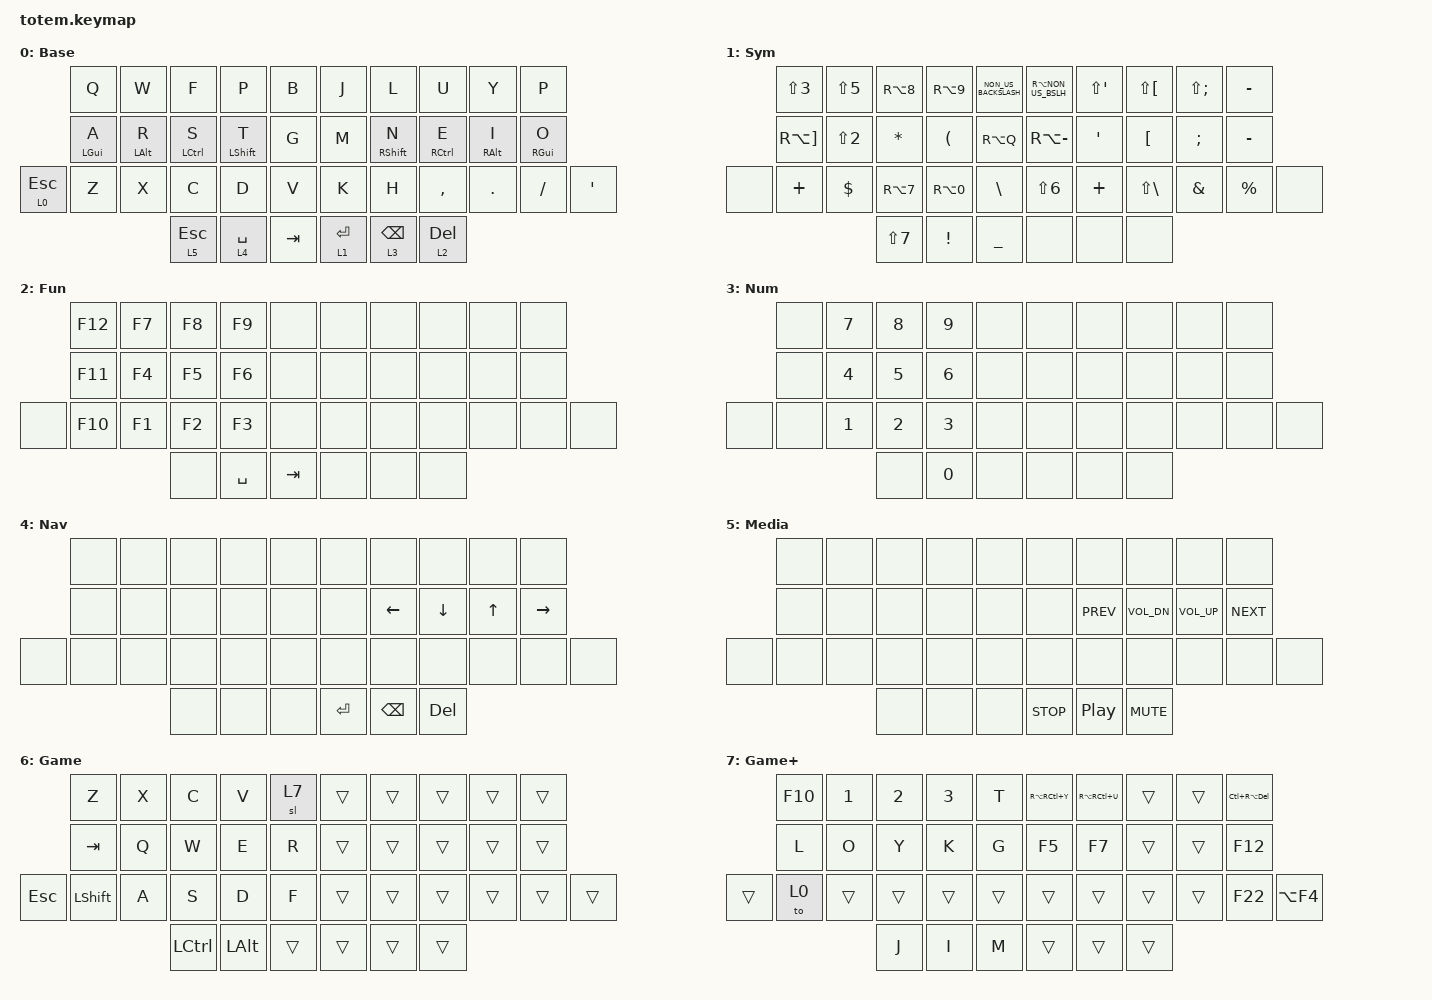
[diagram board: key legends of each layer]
//
//                                                        ▀▀▀▀▀     ▀▀▀▀▀          ▀▀█▀▀
//                                                        ▄▀▀▀▄  ▄  ▄▀▀▀▄  ▄  ▄▀▀▀▄  █  ▄▀▀▀▄
//                                                        █   █  █  █   █  █  █   █  █  █   █
//                                                         ▀▀▀   █   ▀▀▀   █   ▀▀▀   ▀   ▀▀▀
//                                                               █      ▄▄▄█▄▄▄    █   █  
//                                                               ▀      █  █  █     █▄█
//                                                             ▀▀▀▀▀    █  █  █      ▀
//                                                                      ▀  ▀  ▀
//
// ▄▄▄▄▄▄▄▄▄▄▄▄▄▄▄▄▄▄▄▄▄▄▄▄▄▄▄▄▄▄▄▄▄▄▄▄▄▄▄▄▄▄▄▄▄▄▄▄▄▄▄▄▄▄▄▄▄▄▄▄▄▄▄▄▄▄▄▄▄▄▄▄▄▄▄▄▄▄▄▄▄▄▄▄▄▄▄▄▄▄▄▄▄▄▄▄▄▄▄▄▄▄▄▄▄▄▄▄▄▄▄▄▄▄▄▄▄▄▄▄▄▄▄▄▄▄▄▄▄▄▄▄▄▄▄▄▄▄▄▄▄▄▄▄▄▄▄▄▄

#include <behaviors.dtsi>
#include <dt-bindings/zmk/keys.h>

#define Base        0
#define Nav         1
#define Sym         2
#define Fun         3
#define Game        4
#define Gameplus    5

&mt {
    quick-tap-ms = <100>;
    global-quick-tap;
    flavor = "tap-preferred";
    tapping-term-ms = <170>;
};

&lt {
    tapping-term-ms = <240>;
    flavor = "balanced";
    quick-tap-ms = <150>;
};

/ {
    behaviors {
        hm: homerow_mods {
            compatible = "zmk,behavior-hold-tap";
            label = "HOMEROW_MODS";
            #binding-cells = <2>;
            flavor = "tap-preferred";
            tapping-term-ms = <200>;
            quick-tap-ms = <125>;
            global-quick-tap;
            bindings = <&kp>, <&kp>;
        };
    };

    combos { compatible = "zmk,combos"; };

    keymap {
        compatible = "zmk,keymap";

        Base {
            display-name = "Base";
            bindings = <
              &kp Q       &kp W       &kp F         &kp P         &kp B      &kp J        &kp L        &kp U         &kp Y       &kp P
              &hm LGUI A  &hm LALT R  &hm LCTRL S   &hm LSHIFT T  &kp G      &kp M        &hm RSHFT N  &hm RCTRL E   &hm RALT I  &hm RGUI O
&lt 0 ESCAPE  &kp Z       &kp X       &kp C         &kp D         &kp V      &kp K        &kp H        &kp COMMA     &kp DOT     &kp SLASH   &kp APOSTROPHE
                                      &lt 5 ESCAPE  &lt 4 SPACE   &kp TAB    &lt 1 ENTER  &lt 3 BSPC   &lt 2 DELETE
            >;
        };

        Sym {
            bindings = <
       &kp LS(N3)    &kp LS(N5)  &kp RA(N8)  &kp RA(N9)  &kp NON_US_BACKSLASH    &kp RA(NON_US_BSLH)  &kp LS(SQT)  &kp LS(LBKT)  &kp LS(SEMI)   &kp MINUS
       &kp RA(RBKT)  &kp LS(N2)  &kp ASTRK   &kp LPAR    &kp RA(Q)               &kp RA(MINUS)        &kp SQT      &kp LBKT      &kp SEMI       &kp MINUS
&none  &kp PLUS      &kp DLLR    &kp RA(N7)  &kp RA(N0)  &kp BSLH                &kp LS(N6)           &kp PLUS     &kp LS(BSLH)  &kp AMPERSAND  &kp PERCENT  &none
                                 &kp LS(N7)  &kp EXCL    &kp UNDER               &none                &none        &none
            >;
        };

        Fun {
            bindings = <
       &kp F12  &kp F7  &kp F8  &kp F9     &none      &none  &none  &none  &none  &none
       &kp F11  &kp F4  &kp F5  &kp F6     &none      &none  &none  &none  &none  &none
&none  &kp F10  &kp F1  &kp F2  &kp F3     &none      &none  &none  &none  &none  &none  &none
                        &none   &kp SPACE  &kp TAB    &none  &none  &none
            >;
        };

        Num {
            bindings = <
       &none  &kp N7  &kp N8  &kp N9  &none    &none  &none  &none  &none  &none
       &none  &kp N4  &kp N5  &kp N6  &none    &none  &none  &none  &none  &none
&none  &none  &kp N1  &kp N2  &kp N3  &none    &none  &none  &none  &none  &none  &none
                      &none   &kp N0  &none    &none  &none  &none
            >;
        };

        Nav {
            bindings = <
       &none  &none  &none  &none  &none    &none    &none     &none     &none   &none
       &none  &none  &none  &none  &none    &none    &kp LEFT  &kp DOWN  &kp UP  &kp RIGHT
&none  &none  &none  &none  &none  &none    &none    &none     &none     &none   &none      &none
                     &none  &none  &none    &kp RET  &kp BSPC  &kp DEL
            >;
        };

        Media {
            bindings = <
       &none  &none  &none  &none  &none    &none       &none       &none         &none            &none
       &none  &none  &none  &none  &none    &none       &kp C_PREV  &kp C_VOL_DN  &kp C_VOLUME_UP  &kp C_NEXT
&none  &none  &none  &none  &none  &none    &none       &none       &none         &none            &none       &none
                     &none  &none  &none    &kp C_STOP  &kp C_PP    &kp C_MUTE
            >;
        };

        Gaming {
            display-name = "Game";
            bindings = <
            &kp Z           &kp X  &kp C      &kp V         &sl 7     &trans  &trans  &trans  &trans  &trans
            &kp TAB         &kp Q  &kp W      &kp E         &kp R     &trans  &trans  &trans  &trans  &trans
&kp ESCAPE  &kp LEFT_SHIFT  &kp A  &kp S      &kp D         &kp F     &trans  &trans  &trans  &trans  &trans  &trans
                                   &kp LCTRL  &kp LEFT_ALT  &trans    &trans  &trans  &trans
            >;
        };

        Gaming+ {
            display-name = "Game+";
            bindings = <
        &kp F10  &kp NUMBER_1  &kp NUMBER_2  &kp NUMBER_3  &kp T     &kp RA(RC(Y))  &kp RA(RC(U))  &trans  &trans  &kp LC(RA(DEL))
        &kp L    &kp O         &kp Y         &kp K         &kp G     &kp F5         &kp F7         &trans  &trans  &kp F12
&trans  &to 0    &trans        &trans        &trans        &trans    &trans         &trans         &trans  &trans  &kp F22          &kp LA(F4)
                               &kp J         &kp I         &kp M     &trans         &trans         &trans
            >;
        };
    };
};
